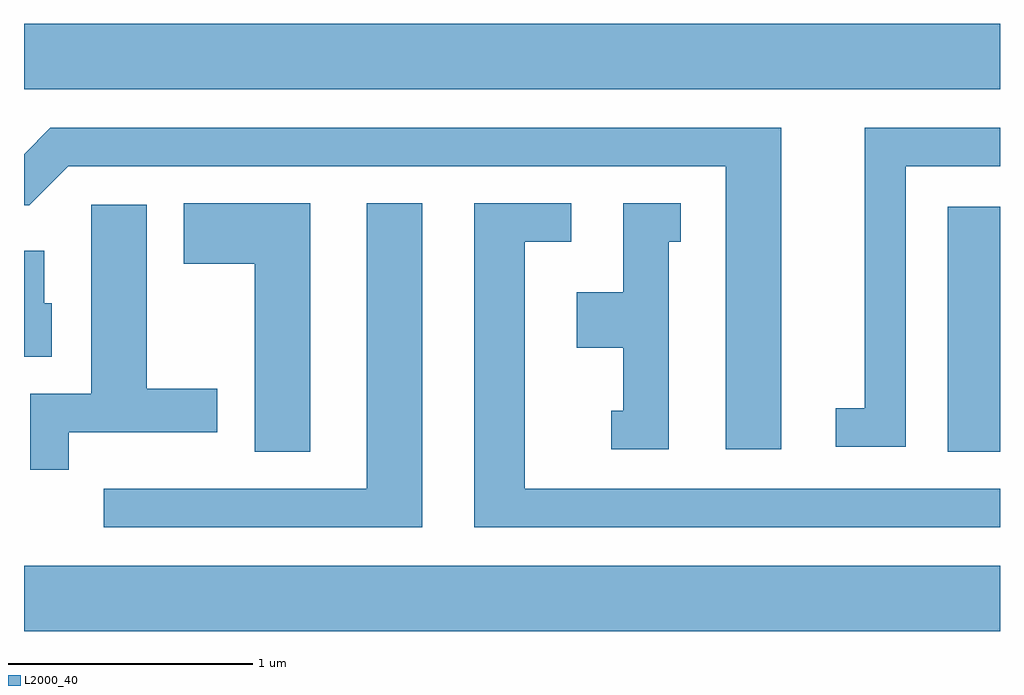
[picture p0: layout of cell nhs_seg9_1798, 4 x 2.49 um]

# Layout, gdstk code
import gdstk
lib = gdstk.Library(unit=1e-6, precision=1e-09)
def R(c, l, rs):  # rectangles x0, y0, x1, y1
    for r in rs: c.add(gdstk.rectangle(r[:2], r[2:], *l))
def P(c, l, *ps):  # polygons
    for p in ps: c.add(gdstk.Polygon(p, *l))
L2000_40 = (2000, 40)

nhs_seg9_1798 = lib.new_cell('nhs_seg9_1798')
R(nhs_seg9_1798, L2000_40, [(237.611,2005.136,241.611,2005.404), (241.396,2005.871,241.611,2006.874), (237.611,2007.356,241.611,2007.624)])
P(nhs_seg9_1798, L2000_40, [(240.714,2007.199),(237.719,2007.199),(237.611,2007.091),(237.611,2006.881),(237.632,2006.881),(237.792,2007.041),(240.486,2007.041),(240.486,2005.881),(240.714,2005.881)],
  [(241.224,2007.041),(241.611,2007.041),(241.611,2007.199),(241.056,2007.199),(241.056,2006.049),(240.938,2006.049),(240.938,2005.891),(241.224,2005.891)],
  [(241.611,2005.719),(239.664,2005.719),(239.664,2006.731),(239.853,2006.731),(239.853,2006.889),(239.456,2006.889),(239.456,2005.561),(241.611,2005.561)],
  [(240.254,2006.731),(240.303,2006.731),(240.303,2006.889),(240.066,2006.889),(240.066,2006.524),(239.876,2006.524),(239.876,2006.296),(240.066,2006.296),(240.066,2006.039),(240.018,2006.039),(240.018,2005.881),(240.254,2005.881)],
  [(238.784,2006.889),(238.266,2006.889),(238.266,2006.641),(238.556,2006.641),(238.556,2005.871),(238.784,2005.871)],
  [(239.244,2006.889),(239.016,2006.889),(239.016,2005.719),(237.938,2005.719),(237.938,2005.561),(239.244,2005.561)],
  [(237.794,2005.951),(238.404,2005.951),(238.404,2006.129),(238.114,2006.129),(238.114,2006.884),(237.886,2006.884),(237.886,2006.109),(237.636,2006.109),(237.636,2005.798),(237.794,2005.798)],
  [(237.724,2006.479),(237.694,2006.479),(237.694,2006.694),(237.611,2006.694),(237.611,2006.261),(237.724,2006.261)])

lib.write_gds('nhs_seg9_1798.gds')
